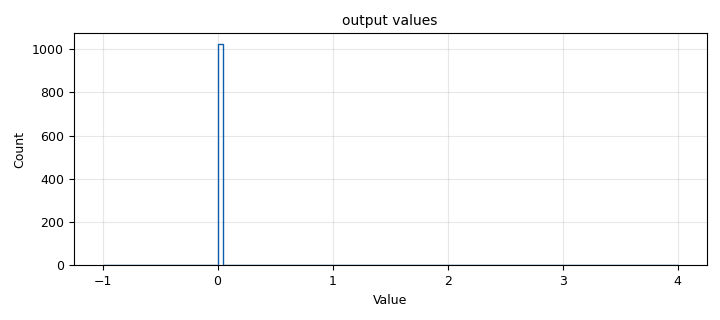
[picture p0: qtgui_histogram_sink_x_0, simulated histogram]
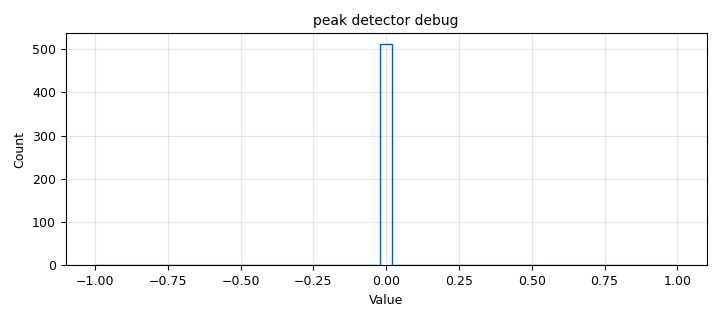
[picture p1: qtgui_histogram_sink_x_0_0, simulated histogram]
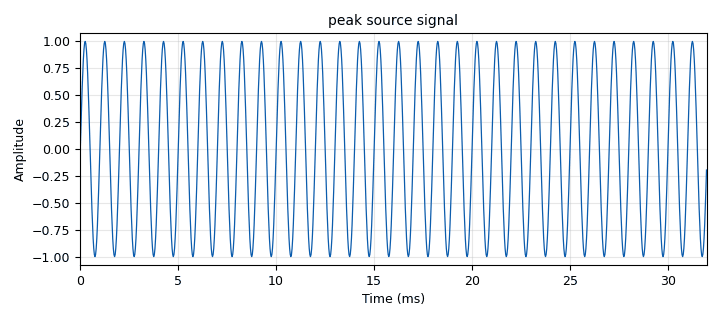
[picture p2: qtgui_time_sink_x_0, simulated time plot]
<?xml version='1.0' encoding='utf-8'?>
<?grc format='1' created='3.7.12'?>
<flow_graph>
<block>
<key>options</key>
<param><key>id</key><value>peak_detector_random_number_gen</value></param>
<param><key>generate_options</key><value>qt_gui</value></param>
</block>
<block>
<key>variable</key>
<param><key>id</key><value>samp_freq</value></param>
<param><key>value</key><value>32000</value></param>
</block>
<block>
<key>analog_random_source_x</key>
<param><key>id</key><value>analog_random_source_x</value></param>
<param><key>max</key><value>4</value></param>
<param><key>min</key><value>0</value></param>
<param><key>num_samps</key><value>10000000</value></param>
<param><key>type</key><value>byte</value></param>
<param><key>repeat</key><value>True</value></param>
</block>
<block>
<key>analog_sig_source_x</key>
<param><key>id</key><value>analog_sig_source_x_0</value></param>
<param><key>amp</key><value>1</value></param>
<param><key>freq</key><value>samp_freq/32</value></param>
<param><key>offset</key><value>0</value></param>
<param><key>type</key><value>float</value></param>
<param><key>samp_rate</key><value>samp_freq</value></param>
<param><key>waveform</key><value>analog.GR_SIN_WAVE</value></param>
</block>
<block>
<key>blocks_char_to_float</key>
<param><key>id</key><value>blocks_char_to_float_0</value></param>
<param><key>scale</key><value>1</value></param>
</block>
<block>
<key>blocks_peak_detector2_fb</key>
<param><key>id</key><value>blocks_peak_detector2_fb_0</value></param>
<param><key>alpha</key><value>0.001</value></param>
<param><key>look_ahead</key><value>1000</value></param>
<param><key>threshold_factor_rise</key><value>7</value></param>
</block>
<block>
<key>blocks_sample_and_hold_xx</key>
<param><key>id</key><value>blocks_sample_and_hold_xx_0</value></param>
<param><key>type</key><value>byte</value></param>
</block>
<block>
<key>qtgui_histogram_sink_x</key>
<param><key>id</key><value>qtgui_histogram_sink_x_0</value></param>
<param><key>accum</key><value>True</value></param>
<param><key>xmax</key><value>4</value></param>
<param><key>xmin</key><value>-1</value></param>
<param><key>name</key><value>"output values"</value></param>
<param><key>bins</key><value>100</value></param>
<param><key>size</key><value>1024</value></param>
<param><key>type</key><value>float</value></param>
</block>
<block>
<key>qtgui_histogram_sink_x</key>
<param><key>id</key><value>qtgui_histogram_sink_x_0_0</value></param>
<param><key>xmax</key><value>1</value></param>
<param><key>xmin</key><value>-1</value></param>
<param><key>name</key><value>"peak detector debug"</value></param>
<param><key>bins</key><value>100</value></param>
<param><key>size</key><value>1024</value></param>
<param><key>type</key><value>float</value></param>
</block>
<block>
<key>qtgui_number_sink</key>
<param><key>id</key><value>qtgui_number_sink_0</value></param>
<param><key>graph_type</key><value>qtgui.NUM_GRAPH_HORIZ</value></param>
<param><key>type</key><value>byte</value></param>
<param><key>max</key><value>4</value></param>
<param><key>name</key><value>"Live output values"</value></param>
</block>
<block>
<key>qtgui_time_sink_x</key>
<param><key>id</key><value>qtgui_time_sink_x_0</value></param>
<param><key>color1</key><value>"blue"</value></param>
<param><key>label1</key><value></value></param>
<param><key>name</key><value>"peak source signal"</value></param>
<param><key>size</key><value>1024</value></param>
<param><key>srate</key><value>samp_freq</value></param>
<param><key>type</key><value>float</value></param>
</block>
<connection><source_block_id>analog_random_source_x</source_block_id><sink_block_id>blocks_sample_and_hold_xx_0</sink_block_id><source_key>0</source_key><sink_key>0</sink_key></connection>
<connection><source_block_id>analog_sig_source_x_0</source_block_id><sink_block_id>blocks_peak_detector2_fb_0</sink_block_id><source_key>0</source_key><sink_key>0</sink_key></connection>
<connection><source_block_id>analog_sig_source_x_0</source_block_id><sink_block_id>qtgui_time_sink_x_0</sink_block_id><source_key>0</source_key><sink_key>0</sink_key></connection>
<connection><source_block_id>blocks_char_to_float_0</source_block_id><sink_block_id>qtgui_histogram_sink_x_0</sink_block_id><source_key>0</source_key><sink_key>0</sink_key></connection>
<connection><source_block_id>blocks_peak_detector2_fb_0</source_block_id><sink_block_id>qtgui_histogram_sink_x_0_0</sink_block_id><source_key>1</source_key><sink_key>0</sink_key></connection>
<connection><source_block_id>blocks_peak_detector2_fb_0</source_block_id><sink_block_id>blocks_sample_and_hold_xx_0</sink_block_id><source_key>0</source_key><sink_key>1</sink_key></connection>
<connection><source_block_id>blocks_sample_and_hold_xx_0</source_block_id><sink_block_id>blocks_char_to_float_0</sink_block_id><source_key>0</source_key><sink_key>0</sink_key></connection>
<connection><source_block_id>blocks_sample_and_hold_xx_0</source_block_id><sink_block_id>qtgui_number_sink_0</sink_block_id><source_key>0</source_key><sink_key>0</sink_key></connection>
</flow_graph>
